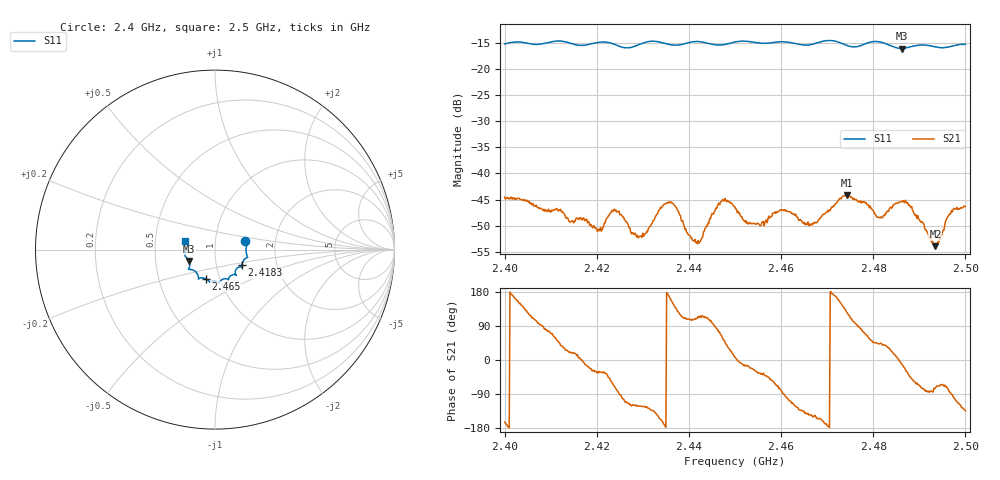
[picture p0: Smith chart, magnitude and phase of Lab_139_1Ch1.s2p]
# Hz S RI R 50
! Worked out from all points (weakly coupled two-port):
!   601 points, 2.4 GHz to 2.5 GHz, reference 50 ohm
!   highest |S21| = -44.15 dB at 2.4743 GHz (marker M1); lowest = -53.9 dB at 2.4935 GHz (marker M2)
!   lowest |S11| = -16.0 dB at 2.4862 GHz (marker M3), VSWR 1.37, Z = 37.1 - j4.81 ohm
!   |S11| at or under -10 dB: start of sweep to end of sweep
!   S12 and S22 are empty: the file has one direction only
!   S11 on the Smith chart (normalised r, x): 2.4 GHz: 1.40, +0.13; 2.4183 GHz: 1.33, -0.24; 2.465 GHz: 0.86, -0.29; 2.5 GHz: 0.71, +0.07
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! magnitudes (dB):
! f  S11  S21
! 2.4 GHz  -15.1  -44.5
! 2.4167 GHz  -15.4  -48.8
! 2.4183 GHz  -15.2  -49.4
! 2.4207 GHz  -14.8  -51.0
! 2.4243 GHz  -15.4  -47.4
! 2.4293 GHz  -15.2  -52.0
! 2.4333 GHz  -14.7  -47.3
! 2.4365 GHz  -15.4  -45.8
! 2.442 GHz  -14.7  -52.9
! 2.4468 GHz  -15.4  -45.6
! 2.45 GHz  -14.8  -46.4
! 2.453 GHz  -14.7  -49.7
! 2.4603 GHz  -14.7  -47.1
! 2.465 GHz  -15.4  -49.4
! 2.4667 GHz  -15.2  -49.7
! 2.4743 GHz  -15.5  -44.1
! 2.4812 GHz  -14.7  -48.4
! 2.4833 GHz  -15.3  -47.3
! 2.4862 GHz  -16.0  -45.4
! 2.4935 GHz  -15.7  -53.9
! 2.497 GHz  -15.6  -47.1
! 2.5 GHz  -15.2  -46.4
